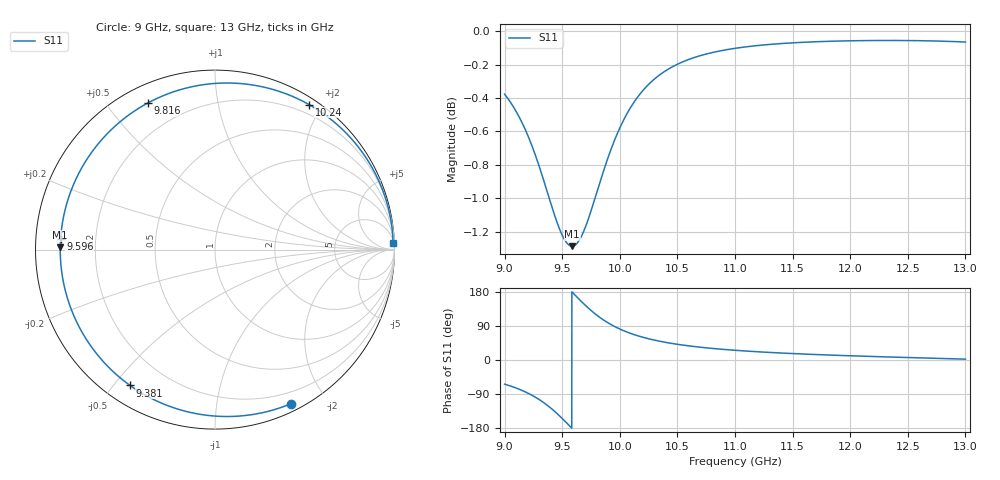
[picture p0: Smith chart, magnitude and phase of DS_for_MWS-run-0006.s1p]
! TOUCHSTONE file generated by CST DESIGN STUDIO
! Date and time: Wed Feb  5 13:43:21 2025
! Project name: C:\Work\MatlabApps\UnitCellOptimizationMatlab\CST\unitcell.cst
! Tree item: Tasks\Sweep1\SPara1\S-Parameters
! Header version: 2024
! Port assignment regex: !\s*Touchstone port\s*([0-9]+)\s*=\s*(CST MWS port|CST DES external port|CST DES block port)\s*(.+)\s* \(\"(.*)\"\)(\s*mode\s*([0-9]+))?.*
! Touchstone port assignment:
! Touchstone port 1 = CST DES external port 1 ("")
# GHz S MA R 50
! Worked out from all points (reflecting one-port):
!   4001 points, 9 GHz to 13 GHz, reference 50 ohm
!   lowest |S11| = -1.3 dB at 9.586 GHz (marker M1), VSWR 13.52, Z = 3.7 + j0.351 ohm
!   phase of S11 starts at -64 deg and turns -294 deg over the sweep
!   S11 on the Smith chart (normalised r, x): 9 GHz: 0.08, -1.61; 9.381 GHz: 0.07, -0.55; 9.596 GHz: 0.07, +0.03; 9.816 GHz: 0.08, +0.64; 10.24 GHz: 0.08, +1.84; 13 GHz: 10, +50
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9  0.9575 -63.7
9.045  0.9528 -68.0
9.113  0.9445 -75.5
9.23  0.9254 -91.8
9.31  0.9089 -106.3
9.381  0.8927 -122.0
9.44  0.8796 -137.1
9.5  0.8688 -154.2
9.544  0.8639 -167.7
9.586  0.8623 179.2
9.596  0.8624 176.0
9.651  0.8661 159.0
9.713  0.8758 140.8
9.764  0.8866 127.2
9.816  0.8984 114.7
9.857  0.9077 105.9
9.9  0.917 97.7
10  0.9355 81.7
10.113  0.9511 68.2
10.238  0.9631 57.0
10.36  0.9711 48.7
10.5  0.9775 41.4
10.721  0.9838 33.0
11  0.9883 25.6
11.5  0.992 17.0
12  0.9934 11.1
12.5  0.9936 6.5
13  0.9926 2.2
